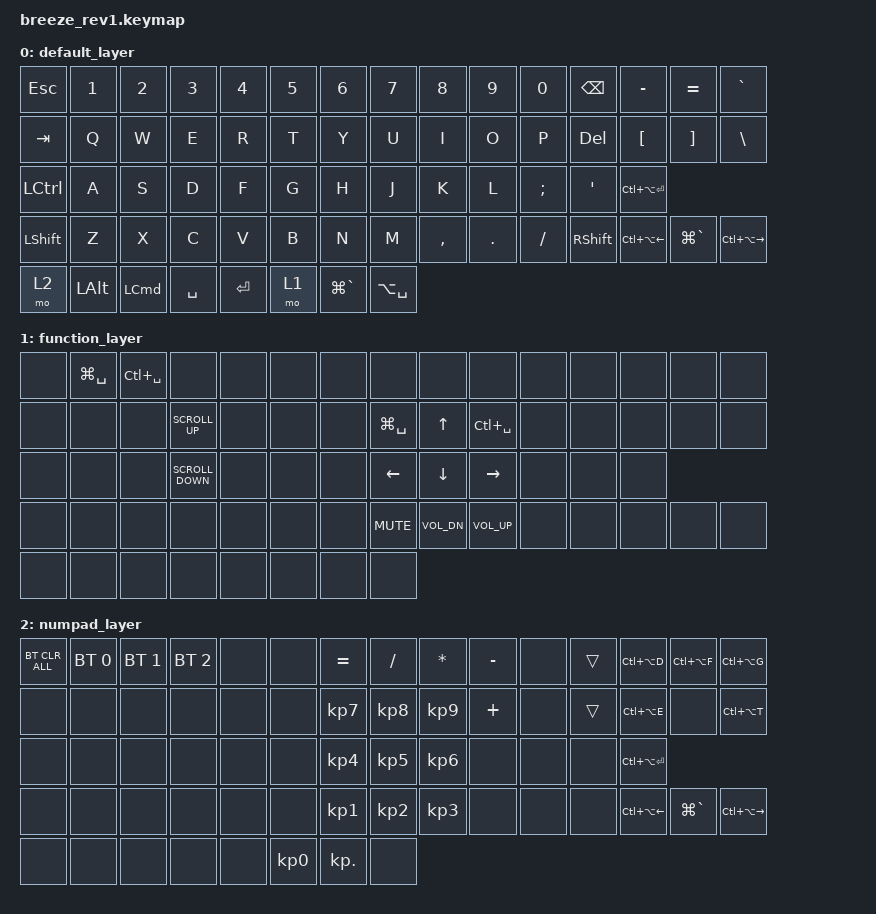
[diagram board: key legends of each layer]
/*
 * Copyright (c) 2022 The ZMK Contributors
 *
 * SPDX-License-Identifier: MIT
 */

#include <behaviors.dtsi>
#include <dt-bindings/zmk/bt.h>
#include <dt-bindings/zmk/keys.h>

/ {
    keymap {
        compatible = "zmk,keymap";

        default_layer {
            // Ref: https://zmkfirmware.dev/docs/codes/
            // ---  MAIN  -----------------------------------------------------------------------------------------------------------------------
            // |    ESC    |     1     |     2     |     3      |      4      |      5     |                           |      6      |      7     |      8      |      9     |     0    |    BSPC    | |    -/_        |     =/+        |    GRAVE    |
            // |    TAB    |     Q     |     W     |     E      |      R      |      T     |                           |      Y      |      U     |      I      |      O     |     P    |    DEL     | |     [         |      ]         |      \      |
            // |   LCTRL   |     A     |     S     |     D      |      F      |      G     |                           |      H      |      J     |      K      |      L     |     ;    |     '      | |               |      UP        |             |
            // |   SHIFT   |     Z     |     X     |     C      |      V      |      B     |                           |      N      |      M     |      ,      |      .     |     /    |   RSHIFT   | |     L         |      DN        |      R      |
            //                                     |   NUMPAD   |     LALT    |    LCMD    |   SPACE    |  |   ENTER   |   FUNCTION  |  MACOS APP |  MACOS LANG |

            bindings = <
&kp ESC    &kp N1    &kp N2    &kp N3     &kp N4   &kp N5  &kp N6         &kp N7         &kp N8     &kp N9   &kp N0    &kp BSPC    &kp MINUS         &kp EQUAL      &kp GRAVE
&kp TAB    &kp Q     &kp W     &kp E      &kp R    &kp T   &kp Y          &kp U          &kp I      &kp O    &kp P     &kp DEL     &kp LBKT          &kp RBKT       &kp BSLH
&kp LCTRL  &kp A     &kp S     &kp D      &kp F    &kp G   &kp H          &kp J          &kp K      &kp L    &kp SEMI  &kp APOS    &kp LC(LA(RET))
&kp LSHFT  &kp Z     &kp X     &kp C      &kp V    &kp B   &kp N          &kp M          &kp COMMA  &kp DOT  &kp FSLH  &kp RSHIFT  &kp LC(LA(LEFT))  &kp LG(GRAVE)  &kp LC(LA(RIGHT))
&mo 2      &kp LALT  &kp LCMD  &kp SPACE  &kp RET  &mo 1   &kp LG(GRAVE)  &kp LA(SPACE)
            >;
        };

        function_layer {
            // ---  FUNCTION  -------------------------------------------------------------------------------------------------------------------
            // |           |           |           |            |             |            |                           |             |            |             |            |          |            | |           |             |             |
            // |           |           |           |            |             |            |                           |             | CMD SPACE  |     UP      | CTRL SPACE |          |            | |           |             |             |
            // |           |           |           |            |             |            |                           |             |    LEFT    |    DOWN     |   RIGHT    |          |            | |           |             |             |
            // |           |           |           |            |             |            |                           |             |    MUTE    |  VOL DOWN   |   VOL UP   |          |            | |           |             |             |
            //                                     |            |             |            |            |  |           |             |            |             |

            bindings = <
&none  &kp LG(SPACE)  &kp LC(SPACE)  &none              &none  &none  &none  &none          &none         &none          &none  &none  &none  &none  &none
&none  &none          &none          &kp K_SCROLL_UP    &none  &none  &none  &kp LG(SPACE)  &kp UP        &kp LC(SPACE)  &none  &none  &none  &none  &none
&none  &none          &none          &kp K_SCROLL_DOWN  &none  &none  &none  &kp LEFT       &kp DOWN      &kp RIGHT      &none  &none  &none
&none  &none          &none          &none              &none  &none  &none  &kp C_MUTE     &kp C_VOL_DN  &kp C_VOL_UP   &none  &none  &none  &none  &none
&none  &none          &none          &none              &none  &none  &none  &none
            >;
        };

        numpad_layer {
            // ---  NUMPAD  -------------------------------------------------------------------------------------------------------------------                                                             ------          MAGENT SCREEN MACROS    -------
            // |           |           |           |            |             |            |                           |       =       |      /       |      *       |      -     |          |            | |   1/3 LEFT     |   1/3 CENT    |  1/3 RIGHT  |
            // |           |           |           |            |             |            |                           |       7       |      8       |      9       |      +     |          |            | |   2/3 LEFT     |               |  2/3 RIGHT  |
            // |           |           |           |            |             |            |                           |       4       |      5       |      6       |            |          |            | |                |     FULL      |             |
            // |           |           |           |            |             |            |                           |       1       |      2       |      3       |            |          |            | |   1/2 LEFT     |     FULL      |  1/2 RIGHT  |
            //                                     |            |             |            |            |  |           |       0       |      .       |              |

            bindings = <
&bt BT_CLR_ALL  &bt BT_SEL 0  &bt BT_SEL 1  &bt BT_SEL 2  &none  &none            &kp EQUAL        &kp SLASH        &kp STAR         &kp MINUS  &none  &trans  &kp LC(LA(D))     &kp LC(LA(F))  &kp LC(LA(G))
&none           &none         &none         &none         &none  &none            &kp KP_NUMBER_7  &kp KP_NUMBER_8  &kp KP_NUMBER_9  &kp PLUS   &none  &trans  &kp LC(LA(E))     &none          &kp LC(LA(T))
&none           &none         &none         &none         &none  &none            &kp KP_NUMBER_4  &kp KP_NUMBER_5  &kp KP_NUMBER_6  &none      &none  &none   &kp LC(LA(RET))
&none           &none         &none         &none         &none  &none            &kp KP_NUMBER_1  &kp KP_NUMBER_2  &kp KP_NUMBER_3  &none      &none  &none   &kp LC(LA(LEFT))  &kp LG(GRAVE)  &kp LC(LA(RIGHT))
&none           &none         &none         &none         &none  &kp KP_NUMBER_0  &kp KP_DOT       &none
            >;
        };
    };
};
